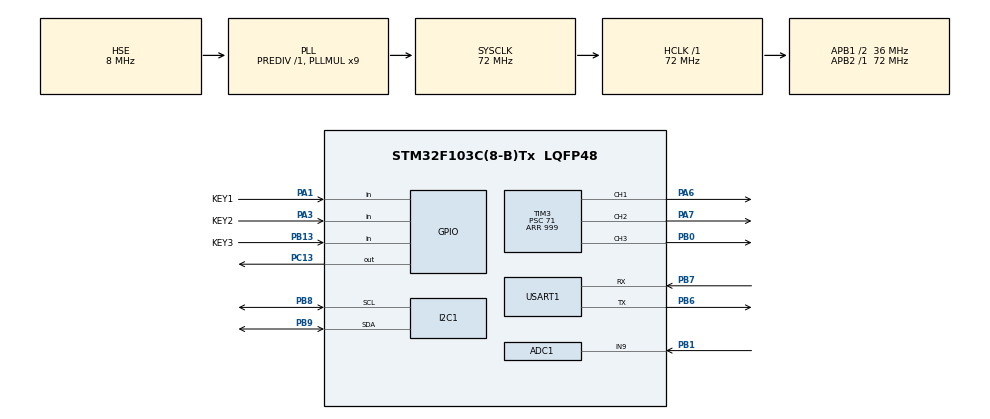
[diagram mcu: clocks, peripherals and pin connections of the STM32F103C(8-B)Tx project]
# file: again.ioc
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ADC1.Channel-7\#ChannelRegularConversion=ADC_CHANNEL_9
ADC1.NbrOfConversionFlag=1
ADC1.Rank-7\#ChannelRegularConversion=1
ADC1.SamplingTime-7\#ChannelRegularConversion=ADC_SAMPLETIME_71CYCLES_5
ADC1.master=1
Dma.Request0=USART1_TX
Dma.USART1_TX.0.Direction=DMA_MEMORY_TO_PERIPH
Dma.USART1_TX.0.Instance=DMA1_Channel4
Dma.USART1_TX.0.MemDataAlignment=DMA_MDATAALIGN_BYTE
Dma.USART1_TX.0.MemInc=DMA_MINC_ENABLE
Dma.USART1_TX.0.Mode=DMA_NORMAL
Dma.USART1_TX.0.PeriphDataAlignment=DMA_PDATAALIGN_BYTE
Dma.USART1_TX.0.PeriphInc=DMA_PINC_DISABLE
Dma.USART1_TX.0.Priority=DMA_PRIORITY_LOW
I2C1.I2C_Mode=I2C_Fast
Mcu.Family=STM32F1
Mcu.Name=STM32F103C(8-B)Tx
Mcu.Package=LQFP48
NVIC.DMA1_Channel4_IRQn=true\:0\:0\:false\:false\:true\:false\:true\:true
NVIC.PriorityGroup=NVIC_PRIORITYGROUP_4
NVIC.TIM4_IRQn=true\:0\:0\:false\:false\:true\:true\:true\:true
NVIC.USART1_IRQn=true\:0\:0\:false\:false\:true\:true\:true\:true
PA1.GPIO_Label=KEY1
PA1.GPIO_PuPd=GPIO_PULLUP
PA1.Signal=GPIO_Input
PA13.Mode=Serial_Wire
PA13.Signal=SYS_JTMS-SWDIO
PA14.Mode=Serial_Wire
PA14.Signal=SYS_JTCK-SWCLK
PA3.GPIO_Label=KEY2
PA3.GPIO_PuPd=GPIO_PULLUP
PA3.Signal=GPIO_Input
PA6.Signal=S_TIM3_CH1
PA7.Signal=S_TIM3_CH2
PB0.Signal=S_TIM3_CH3
PB1.Signal=ADCx_IN9
PB13.GPIO_Label=KEY3
PB13.GPIO_PuPd=GPIO_PULLDOWN
PB13.Signal=GPIO_Input
PB6.Mode=Asynchronous
PB6.Signal=USART1_TX
PB7.Mode=Asynchronous
PB7.Signal=USART1_RX
PB8.Mode=I2C
PB8.Signal=I2C1_SCL
PB9.Mode=I2C
PB9.Signal=I2C1_SDA
PC13-TAMPER-RTC.Signal=GPIO_Output
PD0-OSC_IN.Mode=HSE-External-Oscillator
PD0-OSC_IN.Signal=RCC_OSC_IN
PD1-OSC_OUT.Mode=HSE-External-Oscillator
PD1-OSC_OUT.Signal=RCC_OSC_OUT
ProjectManager.HeapSize=0x200
ProjectManager.StackSize=0x400
ProjectManager.TargetToolchain=MDK-ARM V5.32
RCC.ADCPresc=RCC_ADCPCLK2_DIV6
RCC.AHBFreq_Value=72000000
RCC.APB1CLKDivider=RCC_HCLK_DIV2
RCC.APB1Freq_Value=36000000
RCC.APB1TimFreq_Value=72000000
RCC.APB2Freq_Value=72000000
RCC.APB2TimFreq_Value=72000000
RCC.HCLKFreq_Value=72000000
RCC.PLLMUL=RCC_PLL_MUL9
RCC.PLLSourceVirtual=RCC_PLLSOURCE_HSE
RCC.SYSCLKFreq_VALUE=72000000
RCC.SYSCLKSource=RCC_SYSCLKSOURCE_PLLCLK
RCC.USBFreq_Value=72000000
SH.ADCx_IN9.0=ADC1_IN9,IN9
SH.S_TIM3_CH1.0=TIM3_CH1,PWM Generation1 CH1
SH.S_TIM3_CH2.0=TIM3_CH2,PWM Generation2 CH2
SH.S_TIM3_CH3.0=TIM3_CH3,PWM Generation3 CH3
TIM3.Channel-PWM\ Generation1\ CH1=TIM_CHANNEL_1
TIM3.Channel-PWM\ Generation2\ CH2=TIM_CHANNEL_2
TIM3.Channel-PWM\ Generation3\ CH3=TIM_CHANNEL_3
TIM3.Period=999
TIM3.Prescaler=71
TIM3.Pulse-PWM\ Generation1\ CH1=500
TIM3.Pulse-PWM\ Generation2\ CH2=500
TIM3.Pulse-PWM\ Generation3\ CH3=0
TIM4.Period=9
TIM4.Prescaler=7199
USART1.VirtualMode=VM_ASYNC
VP_TIM3_VS_ClockSourceINT.Mode=Internal
VP_TIM4_VS_ClockSourceINT.Mode=Internal
board=custom

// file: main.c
/* USER CODE BEGIN Header */
/**
  ******************************************************************************
  * @file           : main.c
  * @brief          : Main program body
  ******************************************************************************
  * @attention
  *
  * Copyright (c) 2026 STMicroelectronics.
  * All rights reserved.
  *
  * This software is licensed under terms that can be found in the LICENSE file
  * in the root directory of this software component.
  * If no LICENSE file comes with this software, it is provided AS-IS.
  *
  ******************************************************************************
  */
/* USER CODE END Header */
#include "main.h"
#include "adc.h"
#include "dma.h"
#include "i2c.h"
#include "tim.h"
#include "usart.h"
#include "gpio.h"

/* USER CODE BEGIN Includes */
#include "key.h"   // 引入你刚才写好的按键模块
#include "uart.h"
#include <stdio.h> // 为了用 sprintf
#include <string.h>
#include "oled.h"
#include "my_adc.h"
#include "mpu6050.h"
#include "test.h"
#include "page.h"
/* USER CODE END Includes */

void SystemClock_Config(void);

/* USER CODE BEGIN 0 */
void HAL_TIM_PeriodElapsedCallback(TIM_HandleTypeDef *htim) {
   if (htim->Instance == TIM4)
    {
        key_scan_task();
        page_key_scan();       // KEY3（PB13）← 新增
    }
}

/* USER CODE END 0 */

int main(void)
{

  /* MCU Configuration--------------------------------------------------------*/

  /* Reset of all peripherals, Initializes the Flash interface and the Systick. */
  HAL_Init();

  /* Configure the system clock */
  SystemClock_Config();

  /* Initialize all configured peripherals */
  MX_GPIO_Init();
  MX_DMA_Init();
  MX_TIM4_Init();
  MX_TIM3_Init();
  MX_USART1_UART_Init();
  MX_ADC1_Init();
  MX_I2C1_Init();
  /* USER CODE BEGIN 2 */

  HAL_TIM_Base_Start_IT(&htim4);

  HAL_TIM_PWM_Start(&htim3,TIM_CHANNEL_1);
  HAL_TIM_PWM_Start(&htim3,TIM_CHANNEL_2);
  HAL_TIM_PWM_Start(&htim3,TIM_CHANNEL_3);

  uart_start_receive();

  HAL_Delay(20);
  OLED_Init();

	MPU6050_Init();        // 失败也不停机，靠 g_mpu.ok 显示 MPU ERROR

  test_mpu_id();

  //char message[50] = "";

  /* USER CODE END 2 */

  /* Infinite loop */
  /* USER CODE BEGIN WHILE */
  while (1)
  {

      uart_process_task();  // 串口：先只读 key_event，不清零（必须排在 led_mode_task 之前）

        // 消息页：把按键让给消息模块（它会把 key_event 取走）
        if (page_current() == PAGE_MSG)
        {
            msg_key_task();
        }

        // 灯效：每一页都必须调用！
        // handle_key 参数自己会处理"消息页不接手按键"这件事
        led_mode_task(page_current() != PAGE_MSG);

        page_task();

    /* USER CODE END WHILE */

  }
}

void SystemClock_Config(void)
{
  RCC_OscInitTypeDef RCC_OscInitStruct = {0};
  RCC_ClkInitTypeDef RCC_ClkInitStruct = {0};
  RCC_PeriphCLKInitTypeDef PeriphClkInit = {0};

  /** Initializes the RCC Oscillators according to the specified parameters
  * in the RCC_OscInitTypeDef structure.
  */
  RCC_OscInitStruct.OscillatorType = RCC_OSCILLATORTYPE_HSE;
  RCC_OscInitStruct.HSEState = RCC_HSE_ON;
  RCC_OscInitStruct.HSEPredivValue = RCC_HSE_PREDIV_DIV1;
  RCC_OscInitStruct.HSIState = RCC_HSI_ON;
  RCC_OscInitStruct.PLL.PLLState = RCC_PLL_ON;
  RCC_OscInitStruct.PLL.PLLSource = RCC_PLLSOURCE_HSE;
  RCC_OscInitStruct.PLL.PLLMUL = RCC_PLL_MUL9;
  if (HAL_RCC_OscConfig(&RCC_OscInitStruct) != HAL_OK)
  {
    Error_Handler();
  }

  /** Initializes the CPU, AHB and APB buses clocks
  */
  RCC_ClkInitStruct.ClockType = RCC_CLOCKTYPE_HCLK|RCC_CLOCKTYPE_SYSCLK
                              |RCC_CLOCKTYPE_PCLK1|RCC_CLOCKTYPE_PCLK2;
  RCC_ClkInitStruct.SYSCLKSource = RCC_SYSCLKSOURCE_PLLCLK;
  RCC_ClkInitStruct.AHBCLKDivider = RCC_SYSCLK_DIV1;
  RCC_ClkInitStruct.APB1CLKDivider = RCC_HCLK_DIV2;
  RCC_ClkInitStruct.APB2CLKDivider = RCC_HCLK_DIV1;

  if (HAL_RCC_ClockConfig(&RCC_ClkInitStruct, FLASH_LATENCY_2) != HAL_OK)
  {
    Error_Handler();
  }
  PeriphClkInit.PeriphClockSelection = RCC_PERIPHCLK_ADC;
  PeriphClkInit.AdcClockSelection = RCC_ADCPCLK2_DIV6;
  if (HAL_RCCEx_PeriphCLKConfig(&PeriphClkInit) != HAL_OK)
  {
    Error_Handler();
  }
}

void Error_Handler(void)
{
  __disable_irq();
  while (1)
  {
  }
}
